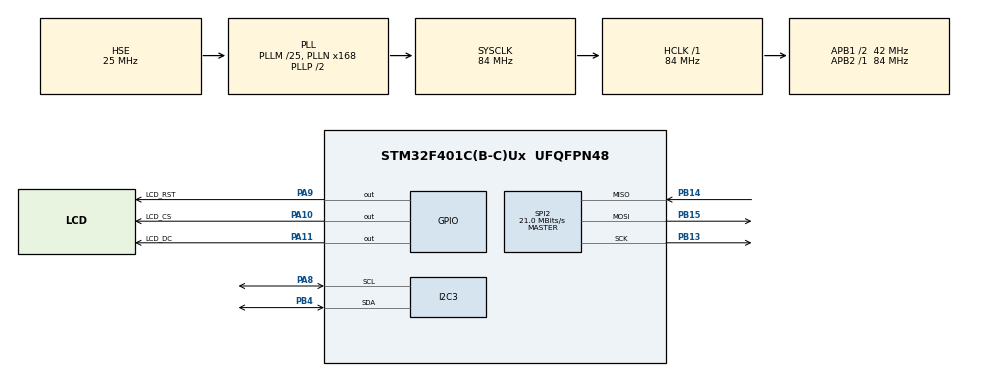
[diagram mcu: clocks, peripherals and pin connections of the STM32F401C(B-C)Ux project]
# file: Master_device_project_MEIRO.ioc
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Dma.Request0=SPI2_RX
Dma.Request1=SPI2_TX
Dma.SPI2_RX.0.Direction=DMA_PERIPH_TO_MEMORY
Dma.SPI2_RX.0.FIFOMode=DMA_FIFOMODE_DISABLE
Dma.SPI2_RX.0.Instance=DMA1_Stream3
Dma.SPI2_RX.0.MemDataAlignment=DMA_MDATAALIGN_BYTE
Dma.SPI2_RX.0.MemInc=DMA_MINC_ENABLE
Dma.SPI2_RX.0.Mode=DMA_NORMAL
Dma.SPI2_RX.0.PeriphDataAlignment=DMA_PDATAALIGN_BYTE
Dma.SPI2_RX.0.PeriphInc=DMA_PINC_DISABLE
Dma.SPI2_RX.0.Priority=DMA_PRIORITY_LOW
Dma.SPI2_TX.1.Direction=DMA_MEMORY_TO_PERIPH
Dma.SPI2_TX.1.FIFOMode=DMA_FIFOMODE_DISABLE
Dma.SPI2_TX.1.Instance=DMA1_Stream4
Dma.SPI2_TX.1.MemDataAlignment=DMA_MDATAALIGN_BYTE
Dma.SPI2_TX.1.MemInc=DMA_MINC_ENABLE
Dma.SPI2_TX.1.Mode=DMA_NORMAL
Dma.SPI2_TX.1.PeriphDataAlignment=DMA_PDATAALIGN_BYTE
Dma.SPI2_TX.1.PeriphInc=DMA_PINC_DISABLE
Dma.SPI2_TX.1.Priority=DMA_PRIORITY_LOW
I2C3.I2C_Mode=I2C_Fast
Mcu.Family=STM32F4
Mcu.Name=STM32F401C(B-C)Ux
Mcu.Package=UFQFPN48
NVIC.DMA1_Stream3_IRQn=true\:0\:0\:false\:false\:true\:false\:true\:true
NVIC.DMA1_Stream4_IRQn=true\:0\:0\:false\:false\:true\:false\:true\:true
NVIC.PriorityGroup=NVIC_PRIORITYGROUP_4
PA10.GPIO_Label=LCD_CS
PA10.Signal=GPIO_Output
PA11.GPIO_Label=LCD_DC
PA11.Signal=GPIO_Output
PA13.Mode=Serial_Wire
PA13.Signal=SYS_JTMS-SWDIO
PA14.Mode=Serial_Wire
PA14.Signal=SYS_JTCK-SWCLK
PA8.Mode=I2C
PA8.Signal=I2C3_SCL
PA9.GPIO_Label=LCD_RST
PA9.Signal=GPIO_Output
PB13.Mode=Full_Duplex_Master
PB13.Signal=SPI2_SCK
PB14.Mode=Full_Duplex_Master
PB14.Signal=SPI2_MISO
PB15.Mode=Full_Duplex_Master
PB15.Signal=SPI2_MOSI
PB4.Mode=I2C
PB4.Signal=I2C3_SDA
PH0\ -\ OSC_IN.Mode=HSE-External-Oscillator
PH0\ -\ OSC_IN.Signal=RCC_OSC_IN
PH1\ -\ OSC_OUT.Mode=HSE-External-Oscillator
PH1\ -\ OSC_OUT.Signal=RCC_OSC_OUT
ProjectManager.HeapSize=0x200
ProjectManager.StackSize=0x400
ProjectManager.TargetToolchain=STM32CubeIDE
RCC.48MHZClocksFreq_Value=42000000
RCC.AHBFreq_Value=84000000
RCC.APB1CLKDivider=RCC_HCLK_DIV2
RCC.APB1Freq_Value=42000000
RCC.APB1TimFreq_Value=84000000
RCC.APB2Freq_Value=84000000
RCC.APB2TimFreq_Value=84000000
RCC.CortexFreq_Value=84000000
RCC.HCLKFreq_Value=84000000
RCC.HSE_VALUE=25000000
RCC.HSI_VALUE=16000000
RCC.LSE_VALUE=32768
RCC.PLLM=25
RCC.PLLN=168
RCC.PLLSourceVirtual=RCC_PLLSOURCE_HSE
RCC.SYSCLKFreq_VALUE=84000000
RCC.SYSCLKSource=RCC_SYSCLKSOURCE_PLLCLK
RCC.VCOOutputFreq_Value=168000000
SPI2.BaudRatePrescaler=SPI_BAUDRATEPRESCALER_2
SPI2.CalculateBaudRate=21.0 MBits/s
SPI2.Direction=SPI_DIRECTION_2LINES
SPI2.Mode=SPI_MODE_MASTER
SPI2.VirtualType=VM_MASTER
board=custom

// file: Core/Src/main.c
/* USER CODE BEGIN Header */
/**
  ******************************************************************************
  * @file           : main.c
  * @brief          : Main program body
  ******************************************************************************
  * @attention
  *
  * Copyright (c) 2024 STMicroelectronics.
  * All rights reserved.
  *
  * This software is licensed under terms that can be found in the LICENSE file
  * in the root directory of this software component.
  * If no LICENSE file comes with this software, it is provided AS-IS.
  *
  ******************************************************************************
  */
/* USER CODE END Header */
#include "main.h"

/* USER CODE BEGIN Includes */
#include"QMC5883.h"

#include "GC9A01.h"

#include "stdio.h"
/* USER CODE END Includes */

/* USER CODE BEGIN PTD */
#define PI 	3.14159265
#define xC	120
#define yC	120
/* USER CODE END PTD */

I2C_HandleTypeDef hi2c3;

SPI_HandleTypeDef hspi2;
DMA_HandleTypeDef hdma_spi2_rx;
DMA_HandleTypeDef hdma_spi2_tx;

/* USER CODE BEGIN PV */
QMC_t pusula_sensor;
int Compas_Value;
/* USER CODE END PV */

void SystemClock_Config(void);
static void MX_GPIO_Init(void);
static void MX_DMA_Init(void);
static void MX_I2C3_Init(void);
static void MX_SPI2_Init(void);

/* USER CODE BEGIN 0 */
static void DrawArrow(int16_t angle, uint8_t lineLen, uint8_t thick, uint16_t color) {

	angle -= 90;
	float angleRad = (float) angle * PI / 180;
	int x = cos(angleRad) * lineLen + xC;
	int y = sin(angleRad) * lineLen + yC;

	GC9A01_DrawLineThick(xC, yC, x, y, color, thick);
}
/* USER CODE END 0 */

int main(void)
{

  /* MCU Configuration--------------------------------------------------------*/

  /* Reset of all peripherals, Initializes the Flash interface and the Systick. */
  HAL_Init();

  /* Configure the system clock */
  SystemClock_Config();

  /* Initialize all configured peripherals */
  MX_GPIO_Init();
  MX_DMA_Init();
  MX_I2C3_Init();
  MX_SPI2_Init();
  /* USER CODE BEGIN 2 */
  QMC_init(&pusula_sensor, &hi2c3, 200);

  GC9A01_Init();

  /* USER CODE END 2 */

  /* Infinite loop */
  /* USER CODE BEGIN WHILE */
  while (1)
  {

	  DrawArrow(Compas_Value, 100, 5, GC9A01_RED);
	  //HAL_Delay(100);
	  ClearWindow(0, 0, GC9A01_TFTWIDTH, GC9A01_TFTHEIGHT, GC9A01_BLACK);
	  if(QMC_read(&pusula_sensor)==0)
	  {
		  Compas_Value=pusula_sensor.heading;
	  }

    /* USER CODE END WHILE */

  }
}

void SystemClock_Config(void)
{
  RCC_OscInitTypeDef RCC_OscInitStruct = {0};
  RCC_ClkInitTypeDef RCC_ClkInitStruct = {0};

  /** Configure the main internal regulator output voltage
  */
  __HAL_RCC_PWR_CLK_ENABLE();
  __HAL_PWR_VOLTAGESCALING_CONFIG(PWR_REGULATOR_VOLTAGE_SCALE2);

  /** Initializes the RCC Oscillators according to the specified parameters
  * in the RCC_OscInitTypeDef structure.
  */
  RCC_OscInitStruct.OscillatorType = RCC_OSCILLATORTYPE_HSE;
  RCC_OscInitStruct.HSEState = RCC_HSE_ON;
  RCC_OscInitStruct.PLL.PLLState = RCC_PLL_ON;
  RCC_OscInitStruct.PLL.PLLSource = RCC_PLLSOURCE_HSE;
  RCC_OscInitStruct.PLL.PLLM = 25;
  RCC_OscInitStruct.PLL.PLLN = 168;
  RCC_OscInitStruct.PLL.PLLP = RCC_PLLP_DIV2;
  RCC_OscInitStruct.PLL.PLLQ = 4;
  if (HAL_RCC_OscConfig(&RCC_OscInitStruct) != HAL_OK)
  {
    Error_Handler();
  }

  /** Initializes the CPU, AHB and APB buses clocks
  */
  RCC_ClkInitStruct.ClockType = RCC_CLOCKTYPE_HCLK|RCC_CLOCKTYPE_SYSCLK
                              |RCC_CLOCKTYPE_PCLK1|RCC_CLOCKTYPE_PCLK2;
  RCC_ClkInitStruct.SYSCLKSource = RCC_SYSCLKSOURCE_PLLCLK;
  RCC_ClkInitStruct.AHBCLKDivider = RCC_SYSCLK_DIV1;
  RCC_ClkInitStruct.APB1CLKDivider = RCC_HCLK_DIV2;
  RCC_ClkInitStruct.APB2CLKDivider = RCC_HCLK_DIV1;

  if (HAL_RCC_ClockConfig(&RCC_ClkInitStruct, FLASH_LATENCY_2) != HAL_OK)
  {
    Error_Handler();
  }
}

static void MX_I2C3_Init(void)
{

  hi2c3.Instance = I2C3;
  hi2c3.Init.ClockSpeed = 400000;
  hi2c3.Init.DutyCycle = I2C_DUTYCYCLE_2;
  hi2c3.Init.OwnAddress1 = 0;
  hi2c3.Init.AddressingMode = I2C_ADDRESSINGMODE_7BIT;
  hi2c3.Init.DualAddressMode = I2C_DUALADDRESS_DISABLE;
  hi2c3.Init.OwnAddress2 = 0;
  hi2c3.Init.GeneralCallMode = I2C_GENERALCALL_DISABLE;
  hi2c3.Init.NoStretchMode = I2C_NOSTRETCH_DISABLE;
  if (HAL_I2C_Init(&hi2c3) != HAL_OK)
  {
    Error_Handler();
  }

}

static void MX_SPI2_Init(void)
{

  /* SPI2 parameter configuration*/
  hspi2.Instance = SPI2;
  hspi2.Init.Mode = SPI_MODE_MASTER;
  hspi2.Init.Direction = SPI_DIRECTION_2LINES;
  hspi2.Init.DataSize = SPI_DATASIZE_8BIT;
  hspi2.Init.CLKPolarity = SPI_POLARITY_LOW;
  hspi2.Init.CLKPhase = SPI_PHASE_1EDGE;
  hspi2.Init.NSS = SPI_NSS_SOFT;
  hspi2.Init.BaudRatePrescaler = SPI_BAUDRATEPRESCALER_2;
  hspi2.Init.FirstBit = SPI_FIRSTBIT_MSB;
  hspi2.Init.TIMode = SPI_TIMODE_DISABLE;
  hspi2.Init.CRCCalculation = SPI_CRCCALCULATION_DISABLE;
  hspi2.Init.CRCPolynomial = 10;
  if (HAL_SPI_Init(&hspi2) != HAL_OK)
  {
    Error_Handler();
  }

}

static void MX_DMA_Init(void)
{

  /* DMA controller clock enable */
  __HAL_RCC_DMA1_CLK_ENABLE();

  /* DMA interrupt init */
  /* DMA1_Stream3_IRQn interrupt configuration */
  HAL_NVIC_SetPriority(DMA1_Stream3_IRQn, 0, 0);
  HAL_NVIC_EnableIRQ(DMA1_Stream3_IRQn);
  /* DMA1_Stream4_IRQn interrupt configuration */
  HAL_NVIC_SetPriority(DMA1_Stream4_IRQn, 0, 0);
  HAL_NVIC_EnableIRQ(DMA1_Stream4_IRQn);

}

static void MX_GPIO_Init(void)
{
  GPIO_InitTypeDef GPIO_InitStruct = {0};

  /* GPIO Ports Clock Enable */
  __HAL_RCC_GPIOH_CLK_ENABLE();
  __HAL_RCC_GPIOB_CLK_ENABLE();
  __HAL_RCC_GPIOA_CLK_ENABLE();

  /*Configure GPIO pin Output Level */
  HAL_GPIO_WritePin(GPIOA, LCD_RST_Pin|LCD_CS_Pin|LCD_DC_Pin, GPIO_PIN_RESET);

  /*Configure GPIO pins : LCD_RST_Pin LCD_CS_Pin LCD_DC_Pin */
  GPIO_InitStruct.Pin = LCD_RST_Pin|LCD_CS_Pin|LCD_DC_Pin;
  GPIO_InitStruct.Mode = GPIO_MODE_OUTPUT_PP;
  GPIO_InitStruct.Pull = GPIO_NOPULL;
  GPIO_InitStruct.Speed = GPIO_SPEED_FREQ_LOW;
  HAL_GPIO_Init(GPIOA, &GPIO_InitStruct);

}

void Error_Handler(void)
{
  __disable_irq();
  while (1)
  {
  }
}
